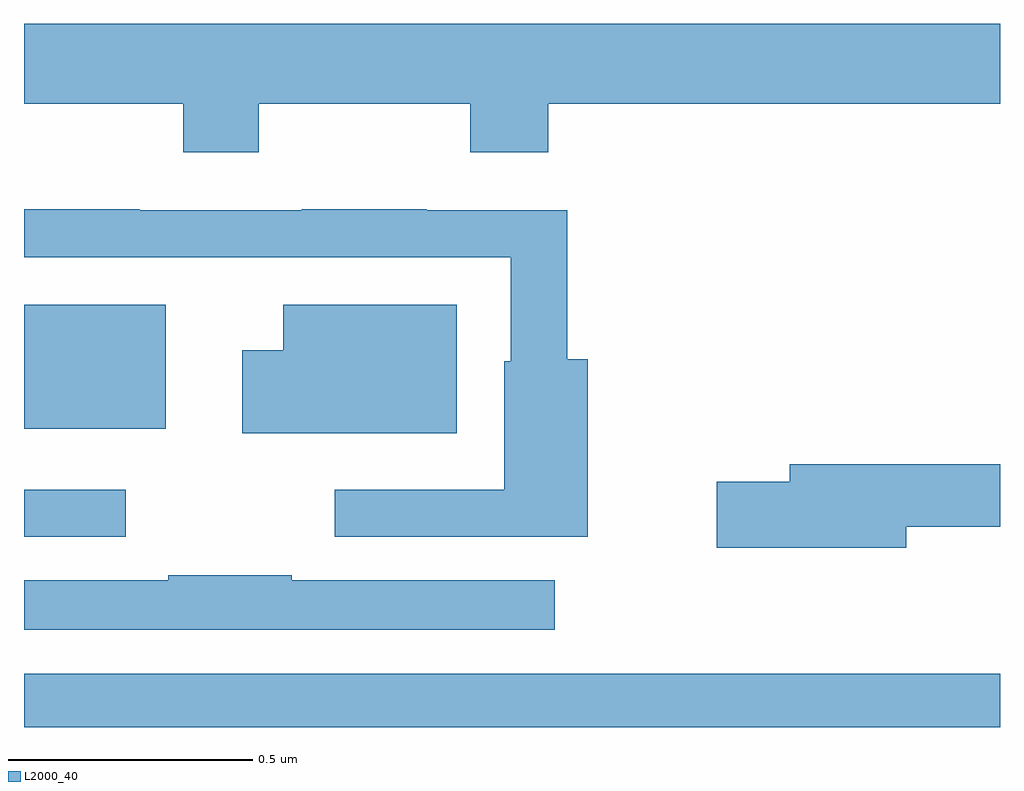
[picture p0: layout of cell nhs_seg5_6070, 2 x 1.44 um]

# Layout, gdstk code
import gdstk
lib = gdstk.Library(unit=1e-6, precision=1e-09)
def R(c, l, rs):  # rectangles x0, y0, x1, y1
    for r in rs: c.add(gdstk.rectangle(r[:2], r[2:], *l))
def P(c, l, *ps):  # polygons
    for p in ps: c.add(gdstk.Polygon(p, *l))
L2000_40 = (2000, 40)

nhs_seg5_6070 = lib.new_cell('nhs_seg5_6070')
R(nhs_seg5_6070, L2000_40, [(191,872.799,193,872.908), (191,873.189,191.209,873.285), (191,873.41,191.29,873.664)])
P(nhs_seg5_6070, L2000_40, [(191.481,874.076),(191.914,874.076),(191.914,873.977),(192.074,873.977),(192.074,874.076),(193,874.076),(193,874.24),(191,874.24),(191,874.076),(191.326,874.076),(191.326,873.977),(191.481,873.977)],
  [(192.155,873.553),(192.113,873.553),(192.113,873.858),(191.825,873.858),(191.825,873.86),(191.569,873.86),(191.569,873.858),(191.237,873.858),(191.237,873.86),(191,873.86),(191,873.762),(191.997,873.762),(191.997,873.549),(191.984,873.549),(191.984,873.285),(191.637,873.285),(191.637,873.189),(192.155,873.189)],
  [(191.887,873.664),(191.531,873.664),(191.531,873.571),(191.447,873.571),(191.447,873.401),(191.887,873.401)],
  [(192.808,873.21),(193,873.21),(193,873.338),(192.569,873.338),(192.569,873.302),(192.42,873.302),(192.42,873.167),(192.808,873.167)],
  [(192.088,873.1),(191.549,873.1),(191.549,873.11),(191.296,873.11),(191.296,873.1),(191,873.1),(191,872.999),(192.088,872.999)])

lib.write_gds('nhs_seg5_6070.gds')
